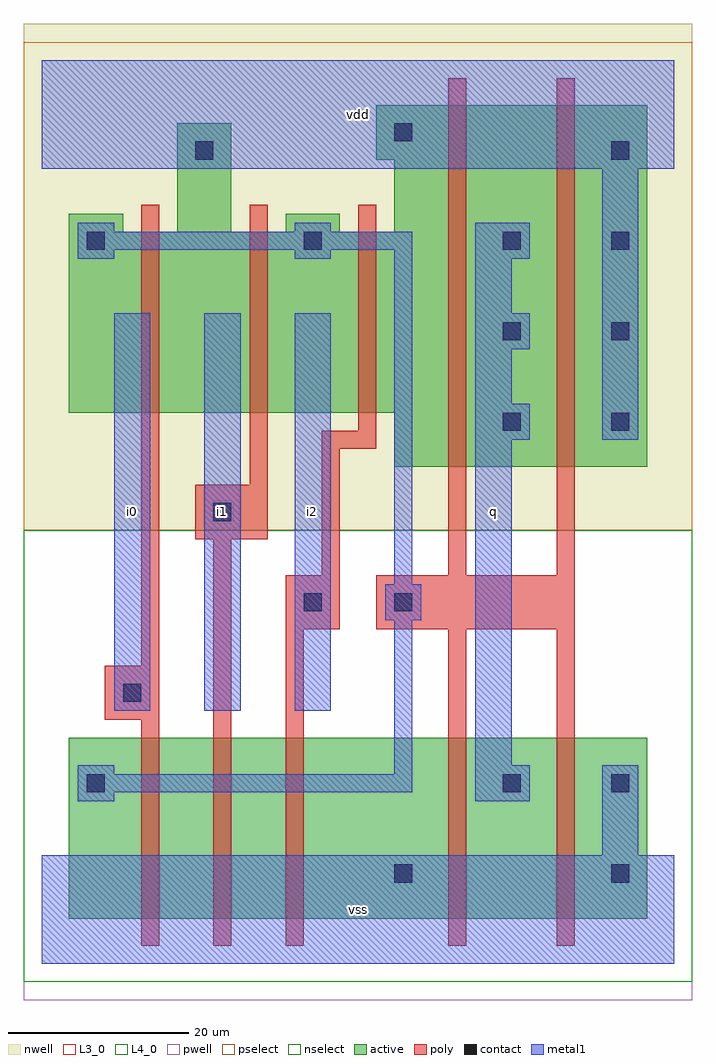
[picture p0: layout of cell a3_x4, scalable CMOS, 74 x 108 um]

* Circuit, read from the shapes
.subckt a3_x4 i0 i1 i2 q vdd vss
M1 n1 i0 n2 VSUBS nfet w=20u l=2u
M2 n3 i1 n1 VSUBS nfet w=20u l=2u
M3 vss i2 n3 VSUBS nfet w=20u l=2u
M4 q n2 vss VSUBS nfet w=20u l=2u m=2
M5 vdd i0 n2 n4 pfet w=20u l=2u
M6 n2 i1 vdd n4 pfet w=20u l=2u
M7 vdd i2 n2 n4 pfet w=20u l=2u
M8 q n2 vdd n4 pfet w=40u l=2u m=2
.ends

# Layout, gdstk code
import gdstk
lib = gdstk.Library(unit=1e-6, precision=1e-09)
def R(c, l, rs):  # rectangles x0, y0, x1, y1
    for r in rs: c.add(gdstk.rectangle(r[:2], r[2:], *l))
def A(c, l, x, y, w, h, nx, ny, dx, dy):  # array of equal rectangles
    R(c, l, [(x+i*dx, y+j*dy, x+i*dx+w, y+j*dy+h) for i in range(nx) for j in range(ny)])
L3_0 = (3, 0)
L4_0 = (4, 0)
contact = (25, 0)
pwell = (41, 0)
nwell = (42, 0)
active = (43, 0)
pselect = (44, 0)
nselect = (45, 0)
poly = (46, 0)
metal1 = (49, 0)

a3_x4 = lib.new_cell('a3_x4')
R(a3_x4, L3_0, [(3,5,67,25)])
R(a3_x4, L4_0, [(39,55,67,61), (3,61,67,81), (3,81,9,83), (15,81,21,93), (27,81,33,83), (39,81,67,89), (37,89,67,95)])
A(a3_x4, contact, 51, 59, 2, 2, 1, 3, 0, 10)
A(a3_x4, contact, 63, 59, 2, 2, 1, 4, 0, 10)
R(a3_x4, contact, [(39,9,41,11), (63,9,65,11), (5,19,7,21), (51,19,53,21), (63,19,65,21), (9,29,11,31), (29,39,31,41), (39,39,41,41), (19,49,21,51), (5,79,7,81), (29,79,31,81), (17,89,19,91), (39,91,41,93)])
R(a3_x4, pwell, [(-2,-4,72,48)])
R(a3_x4, nwell, [(-2,48,72,104)])
R(a3_x4, active, [(3,5,67,25), (39,55,67,61), (3,61,67,81), (3,81,9,83), (15,81,21,93), (27,81,33,83), (39,81,67,89), (37,89,67,95)])
R(a3_x4, pselect, [(-2,48,72,102)])
R(a3_x4, nselect, [(-2,-2,72,48)])
R(a3_x4, poly, [(11,2,13,27), (19,2,21,47), (27,2,29,37), (45,2,47,37), (57,2,59,37), (7,27,13,33), (11,33,13,84), (27,37,33,43), (37,37,59,43), (31,43,33,57), (45,43,47,98), (57,43,59,98), (17,47,25,53), (23,53,25,84), (31,57,37,59), (35,59,37,84)])
A(a3_x4, metal1, 8, 28, 4, 44, 3, 1, 10, 0)
A(a3_x4, metal1, 48, 58, 6, 4, 1, 3, 0, 10)
R(a3_x4, metal1, [(0,0,70,12), (62,12,66,22), (4,18,8,19), (48,18,54,22), (4,19,41,21), (4,21,8,22), (39,21,41,38), (48,22,52,58), (38,38,42,42), (39,42,41,79), (62,58,66,88), (48,62,52,68), (48,72,52,78), (4,78,8,79), (28,78,32,79), (4,79,41,81), (4,81,8,82), (28,81,32,82), (0,88,70,100)])
a3_x4.add(gdstk.Label('i0', (10,50), layer=49, texttype=0))
a3_x4.add(gdstk.Label('i2', (30,50), layer=49, texttype=0))
a3_x4.add(gdstk.Label('i1', (20,50), layer=49, texttype=0))
a3_x4.add(gdstk.Label('vss', (35,6), layer=49, texttype=0))
a3_x4.add(gdstk.Label('q', (50,50), layer=49, texttype=0))
a3_x4.add(gdstk.Label('vdd', (35,94), layer=49, texttype=0))

lib.write_gds('a3_x4.gds')
